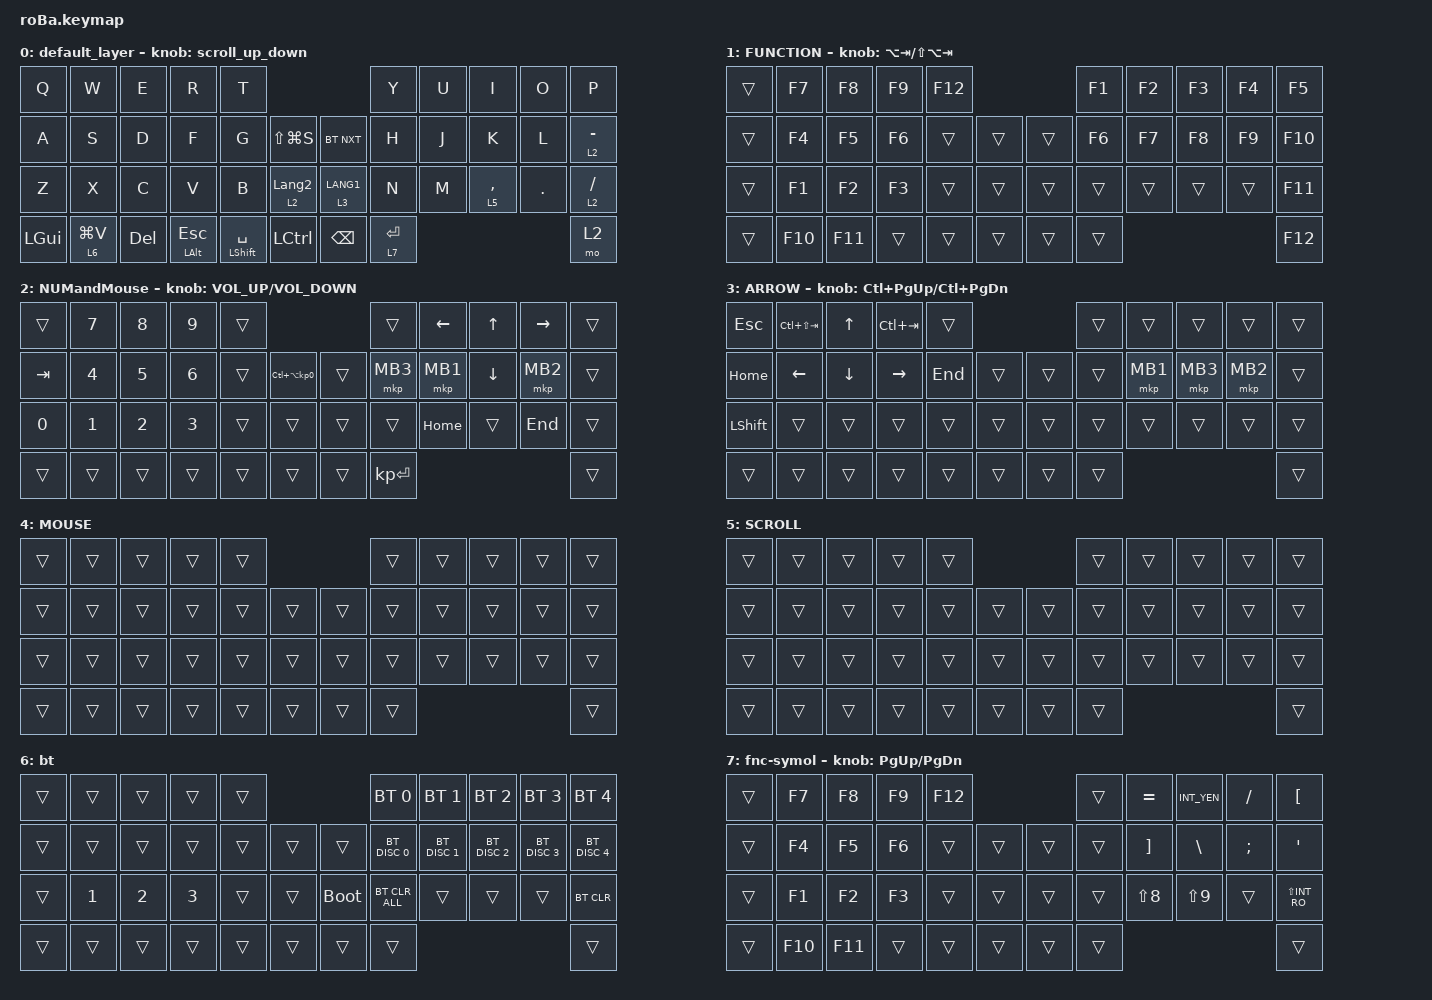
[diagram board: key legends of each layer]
#include <dt-bindings/zmk/mouse.h>
#include <behaviors.dtsi>
#include <dt-bindings/zmk/bt.h>
#include <dt-bindings/zmk/keys.h>

#define MOUSE 4
#define SCROLL 5
#define NUM 6

// #includeのあとのあたりにスクロール量を変更

#define ZMK_MOUSE_DEFAULT_SCRL_VAL 100

&mt {
    flavor = "balanced";
    quick-tap-ms = <0>;
};

/ {
    combos {
        compatible = "zmk,combos";

        tab {
            bindings = <&kp TAB>;
            key-positions = <11 12>;
        };

        shift_tab {
            bindings = <&kp LS(TAB)>;
            key-positions = <12 13>;
        };

        double_quotation {
            bindings = <&kp DOUBLE_QUOTES>;
            key-positions = <20 21>;
        };

        eq {
            bindings = <&kp EQUAL>;
            key-positions = <24 25>;
        };

        mb1 {
            bindings = <&mkp MB1>;
            key-positions = <30 31>;
        };

        mb2 {
            bindings = <&mkp MB2>;
            key-positions = <31 32>;
        };
    };

    macros {
        to_layer_0: to_layer_0 {
            compatible = "zmk,behavior-macro-one-param";
            #binding-cells = <1>;
            bindings = <&to 0 &macro_param_1to1 &kp MACRO_PLACEHOLDER>;
            label = "TO_LAYER_0";
        };
    };

    behaviors {
        lt_to_layer_0: lt_to_layer_0 {
            compatible = "zmk,behavior-hold-tap";
            label = "LAYER_TAP_TO_0";
            bindings = <&mo>, <&to_layer_0>;

            #binding-cells = <2>;
            tapping-term-ms = <200>;
        };

        // 新しいスクロール動作の追加

        scroll_up_down: behavior_sensor_rotate_mouse_wheel_up_down {
            compatible = "zmk,behavior-sensor-rotate";
            #sensor-binding-cells = <0>;
            bindings = <&msc SCRL_UP>, <&msc SCRL_DOWN>;

            // 追加: スクロールのタップ時間を設定 (20ms)

            tap-ms = <20>;
        };
    };

    keymap {
        compatible = "zmk,keymap";

        default_layer {
            bindings = <
&kp Q         &kp W        &kp E       &kp R             &kp T                                                    &kp Y        &kp U  &kp I        &kp O    &kp P
&kp A         &kp S        &kp D       &kp F             &kp G                 &kp LS(LG(S))       &bt BT_NXT     &kp H        &kp J  &kp K        &kp L    &lt 2 MINUS
&kp Z         &kp X        &kp C       &kp V             &kp B                 &lt 2 LANGUAGE_2    &lt 3 LANG1    &kp N        &kp M  &lt 5 COMMA  &kp DOT  &lt 2 SLASH
&kp LEFT_GUI  &lt 6 LG(V)  &kp DELETE  &mt LEFT_ALT ESC  &mt LEFT_SHIFT SPACE  &kp LCTRL           &kp BACKSPACE  &lt 7 ENTER                               &mo 2
            >;

            sensor-bindings = <&scroll_up_down>;
        };

        FUNCTION {
            bindings = <
&trans  &kp F7   &kp F8   &kp F9  &kp F12                    &kp F1  &kp F2  &kp F3  &kp F4  &kp F5
&trans  &kp F4   &kp F5   &kp F6  &trans   &trans    &trans  &kp F6  &kp F7  &kp F8  &kp F9  &kp F10
&trans  &kp F1   &kp F2   &kp F3  &trans   &trans    &trans  &trans  &trans  &trans  &trans  &kp F11
&trans  &kp F10  &kp F11  &trans  &trans   &trans    &trans  &trans                          &kp F12
            >;

            sensor-bindings = <&inc_dec_kp LA(TAB) LS(LA(TAB))>;
        };

        NUMandMouse {
            bindings = <
&trans   &kp N7        &kp N8        &kp N9        &trans                                     &trans        &kp LEFT_ARROW  &kp UP_ARROW    &kp RIGHT_ARROW  &trans
&kp TAB  &kp NUMBER_4  &kp N5        &kp NUMBER_6  &trans  &kp LC(LA(KP_NUMBER_0))    &trans  &mkp MB3      &mkp MB1        &kp DOWN_ARROW  &mkp MB2         &trans
&kp N0   &kp NUMBER_1  &kp NUMBER_2  &kp NUMBER_3  &trans  &trans                     &trans  &trans        &kp HOME        &trans          &kp END          &trans
&trans   &trans        &trans        &trans        &trans  &trans                     &trans  &kp KP_ENTER                                                   &trans
            >;

            sensor-bindings = <&inc_dec_kp C_VOLUME_UP C_VOLUME_DOWN>;
        };

        ARROW {
            bindings = <
&kp ESCAPE      &kp LC(LS(TAB))  &kp UP_ARROW    &kp LC(TAB)      &trans                     &trans  &trans    &trans    &trans    &trans
&kp HOME        &kp LEFT_ARROW   &kp DOWN_ARROW  &kp RIGHT_ARROW  &kp END  &trans    &trans  &trans  &mkp MB1  &mkp MB3  &mkp MB2  &trans
&kp LEFT_SHIFT  &trans           &trans          &trans           &trans   &trans    &trans  &trans  &trans    &trans    &trans    &trans
&trans          &trans           &trans          &trans           &trans   &trans    &trans  &trans                                &trans
            >;

            sensor-bindings = <&inc_dec_kp LC(PAGE_UP) LC(PAGE_DOWN)>;
        };

        MOUSE {
            bindings = <
&trans  &trans  &trans  &trans  &trans                    &trans  &trans  &trans  &trans  &trans
&trans  &trans  &trans  &trans  &trans  &trans    &trans  &trans  &trans  &trans  &trans  &trans
&trans  &trans  &trans  &trans  &trans  &trans    &trans  &trans  &trans  &trans  &trans  &trans
&trans  &trans  &trans  &trans  &trans  &trans    &trans  &trans                          &trans
            >;
        };

        SCROLL {
            bindings = <
&trans  &trans  &trans  &trans  &trans                    &trans  &trans  &trans  &trans  &trans
&trans  &trans  &trans  &trans  &trans  &trans    &trans  &trans  &trans  &trans  &trans  &trans
&trans  &trans  &trans  &trans  &trans  &trans    &trans  &trans  &trans  &trans  &trans  &trans
&trans  &trans  &trans  &trans  &trans  &trans    &trans  &trans                          &trans
            >;
        };

        bt {
            bindings = <
&trans  &trans        &trans        &trans        &trans                         &bt BT_SEL 0    &bt BT_SEL 1   &bt BT_SEL 2   &bt BT_SEL 3   &bt BT_SEL 4
&trans  &trans        &trans        &trans        &trans  &trans    &trans       &bt BT_DISC 0   &bt BT_DISC 1  &bt BT_DISC 2  &bt BT_DISC 3  &bt BT_DISC 4
&trans  &kp NUMBER_1  &kp NUMBER_2  &kp NUMBER_3  &trans  &trans    &bootloader  &bt BT_CLR_ALL  &trans         &trans         &trans         &bt BT_CLR
&trans  &trans        &trans        &trans        &trans  &trans    &trans       &trans                                                       &trans
            >;
        };

        fnc-symol {
            bindings = <
&trans  &kp F7   &kp F8   &kp F9  &kp F12                    &trans  &kp EQUAL          &kp INT_YEN  &kp SLASH      &kp LEFT_BRACKET
&trans  &kp F4   &kp F5   &kp F6  &trans   &trans    &trans  &trans  &kp RIGHT_BRACKET  &kp BSLH     &kp SEMICOLON  &kp SINGLE_QUOTE
&trans  &kp F1   &kp F2   &kp F3  &trans   &trans    &trans  &trans  &kp LS(N8)         &kp LS(N9)   &trans         &kp LS(INT_RO)
&trans  &kp F10  &kp F11  &trans  &trans   &trans    &trans  &trans                                                 &trans
            >;

            sensor-bindings = <&inc_dec_kp PAGE_UP PAGE_DOWN>;
        };
    };
};
